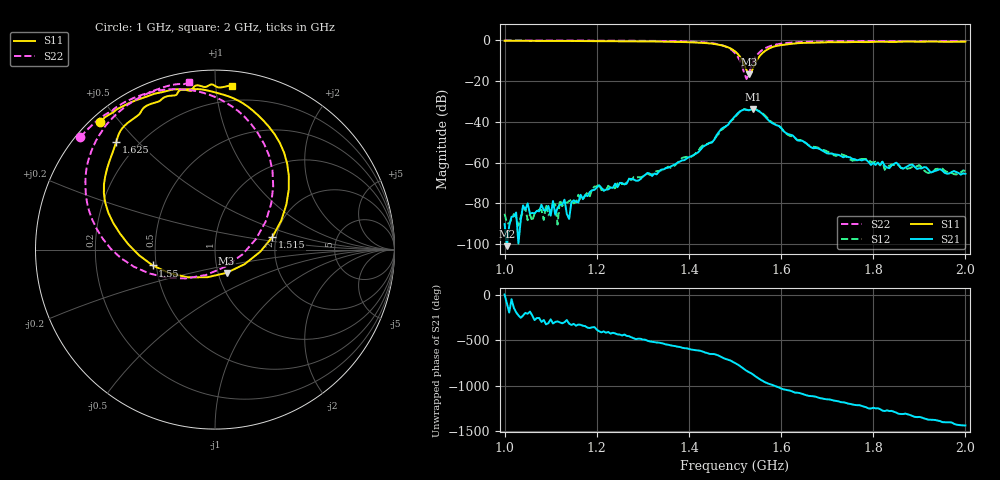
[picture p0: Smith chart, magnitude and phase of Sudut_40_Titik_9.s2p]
# Hz S RI R 50
! CMT, C1220, 16058040, 17.2.0/1
! Date: 14/08/2018 11:54:45
! Data: Format (Calibration Info)
! Freq  S11: Re/Im (F2)  S21: Re/Im (F2)  S12: Re/Im (F2)  S22: Re/Im (F2)
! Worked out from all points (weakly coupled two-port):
!   201 points, 1 GHz to 2 GHz, reference 50 ohm
!   highest |S21| = -33.89 dB at 1.54 GHz (marker M1); lowest = -101.0 dB at 1.005 GHz (marker M2)
!   lowest |S11| = -16.8 dB at 1.53 GHz (marker M3), VSWR 1.34, Z = 54.9 - j14.5 ohm
!   |S11| at or under -10 dB: 1.516 GHz to 1.547 GHz (31.54 MHz wide, 2.06 % of centre)
!   |S22| runs from -19.1 to -0.2 dB; largest |S21 - S12| = 0.00086
!   S11 on the Smith chart (normalised r, x): 1 GHz: 0.03, +0.44; 1.515 GHz: 1.91, +0.30; 1.55 GHz: 0.48, -0.10; 1.625 GHz: 0.12, +0.43; 2 GHz: 0.10, +1.10
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1e9  -0.6431 0.7106  3.1e-05 2.21e-06  -4.12e-05 -3.76e-05  -0.7502 0.6267
1.005e9  -0.636 0.7156  -1.15e-06 -8.86e-06  -2.71e-05 -1.77e-05  -0.7465 0.6309
1.17e9  -0.4712 0.8197  0.000119 4.25e-05  0.00012 3.57e-05  -0.6125 0.752
1.205e9  -0.4245 0.8373  0.00021 -0.000181  0.000199 -0.000224  -0.5762 0.7662
1.22e9  -0.4089 0.8425  0.000117 -0.000182  0.000121 -0.000167  -0.5673 0.7789
1.335e9  -0.2137 0.8931  -0.000584 -0.00014  -0.000621 -6.33e-05  -0.3958 0.8659
1.45e9  0.184 0.7958  0.00119 0.00285  0.00139 0.00286  0.0271 0.8376
1.5e9  0.4109 0.3343  0.0117 -0.00672  0.011 -0.0064  0.3243 0.352
1.515e9  0.3203 0.071  0.00304 -0.0187  0.00358 -0.0189  0.2287 0.0594
1.525e9  0.1644 -0.0815  -0.00898 -0.0172  -0.00908 -0.0175  0.0573 -0.0953
1.53e9  0.0645 -0.1296  -0.0124 -0.0144  -0.0126 -0.0145  -0.0493 -0.1412
1.54e9  -0.1498 -0.1546  -0.0192 -0.00635  -0.019 -0.00634  -0.2704 -0.1564
1.55e9  -0.3472 -0.0883  -0.0176 0.00577  -0.0179 0.00519  -0.4523 -0.0953
1.58e9  -0.6114 0.2607  0.000203 0.00931  0.000664 0.00967  -0.7011 0.2147
1.625e9  -0.5503 0.5988  0.00452 0.00107  0.00422 0.00113  -0.6981 0.5224
1.67e9  -0.4385 0.7406  0.00174 -0.00141  0.00192 -0.0015  -0.6207 0.674
1.825e9  -0.1647 0.8896  -0.000772 0.000308  -0.000629 0.000218  -0.3836 0.8667
1.835e9  -0.1442 0.8852  -0.000676 0.000269  -0.000783 0.000289  -0.3703 0.873
1.85e9  -0.1275 0.8904  -0.00077 0.000623  -0.000703 0.000587  -0.3501 0.8821
1.9e9  -0.055 0.9061  -4.2e-05 0.000723  8.23e-05 0.000861  -0.2791 0.9073
1.92e9  -0.0285 0.9179  0.000304 0.000589  0.000219 0.000507  -0.2523 0.9145
2e9  0.0943 0.9108  0.00053 -6.55e-06  0.00062 -2.69e-05  -0.147 0.9311
